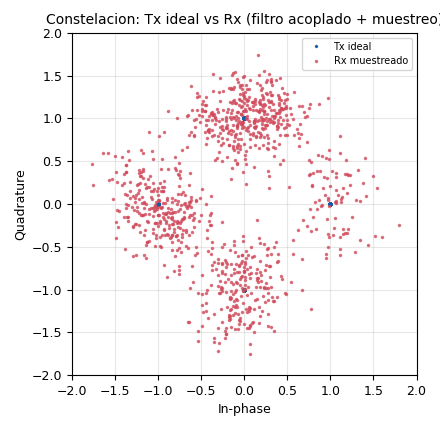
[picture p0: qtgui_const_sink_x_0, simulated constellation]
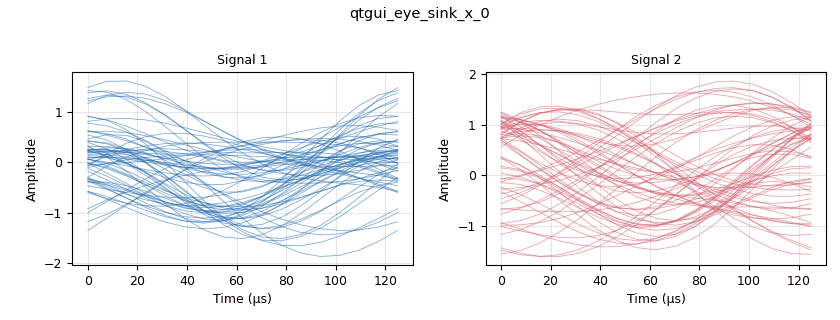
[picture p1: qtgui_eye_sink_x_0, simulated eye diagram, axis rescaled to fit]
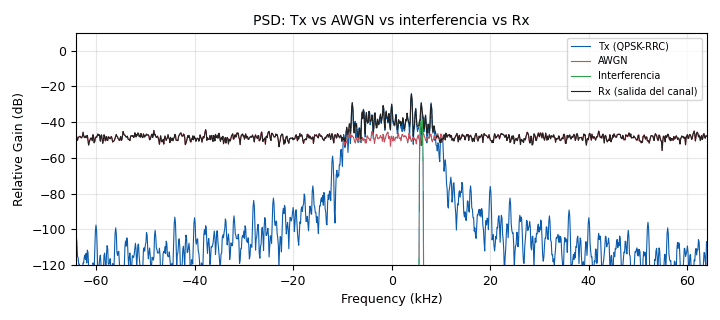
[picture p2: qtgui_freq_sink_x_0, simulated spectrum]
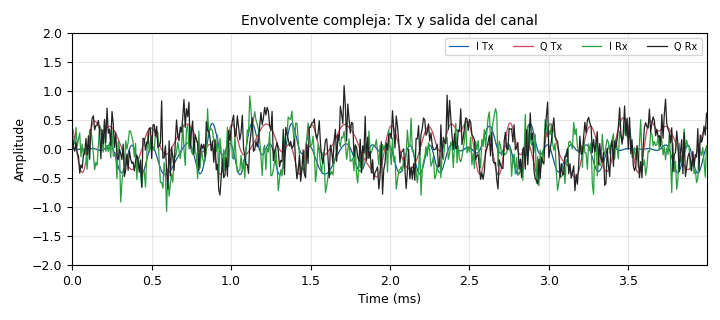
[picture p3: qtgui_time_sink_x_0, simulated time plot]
options:
  parameters:
    comment: Basado en Modulaciones_basadas_en_constelaciones_AWGN.grc (flujo base del curso)
    description: 'Abstraccion academica de un enlace optico coherente DCI: QPSK + RRC + AWGN + interferencia + receptor + BER'
    generate_options: qt_gui
    id: QPSK_DCI_Fase2_avance
    output_language: python
    title: QPSK con RRC, AWGN e interferencia senoidal - Fase 2 (avance)
  states: {}

blocks:
- name: EbN0_dB
  id: variable_qtgui_label
  parameters:
    gui_hint: 2,1,1,1
    label: Eb/N0 [dB]
    type: real
    value: EsN0_dB - 10*math.log10(bps)
  states: {}
- name: EsN0_dB
  id: variable_qtgui_range
  parameters:
    comment: Es/N0 en dB (en el instante de decision)
    gui_hint: 0,0,1,1
    label: Es/N0 [dB]
    start: '-5'
    step: '0.5'
    stop: '80'
    value: '10'
  states: {}
- name: M
  id: variable
  parameters:
    value: len(tabla_de_verdad_constelacion)
  states: {}
- name: N_ber
  id: variable
  parameters:
    comment: Ventana de bits para la BER en vivo
    value: '100000'
  states: {}
- name: Rb
  id: variable
  parameters:
    comment: Tasa de bits [bit/s]
    value: Rs*bps
  states: {}
- name: Rs
  id: variable
  parameters:
    comment: Tasa de simbolos [sym/s]
    value: '16000'
  states: {}
- name: SIR_dB
  id: variable_qtgui_label
  parameters:
    comment: SIR = P_senal/P_tono, con P_senal = 1/Sps
    gui_hint: 1,1,1,1
    label: SIR [dB]
    type: raw
    value: round(10*math.log10((1.0/Sps)/(interf_amp**2)), 2) if interf_amp > 0 else 'sin interferencia'
  states: {}
- name: Sps
  id: variable
  parameters:
    value: '8'
  states: {}
- name: beta
  id: variable
  parameters:
    comment: Factor de roll-off del RRC
    value: '0.35'
  states: {}
- name: bps
  id: variable
  parameters:
    value: int(math.log(M,2))
  states: {}
- name: constelacion_qpsk
  id: variable_constellation
  parameters:
    comment: Decisor de minima distancia sobre la tabla del curso
    const_points: tabla_de_verdad_constelacion
    dims: '1'
    normalization: digital.constellation.NO_NORMALIZATION
    precision: '8'
    rot_sym: '4'
    sym_map: '[0, 1, 2, 3]'
    type: calcdist
  states: {}
- name: interf_amp
  id: variable_qtgui_range
  parameters:
    comment: Amplitud del tono interferente (0 = sin interferencia)
    gui_hint: 0,1,1,1
    label: interf_amp
    start: '0'
    step: '0.01'
    stop: '0.5'
    value: '0.1'
  states: {}
- name: interf_freq
  id: variable_qtgui_range
  parameters:
    comment: Frecuencia del tono interferente en banda base
    gui_hint: 1,0,1,1
    label: interf_freq [Hz]
    start: '0'
    step: '100'
    stop: '40000'
    value: '6000'
  states: {}
- name: mt
  id: variable
  parameters:
    comment: mensaje
    value: (0,1,1,0,0,0,1,1,0,1,1,0,1,1,1,1,0,1,1,0,1,1,0,1,0,1,1,1,0,1,0,1,0,1,1,0,1,1,1,0,0,1,1,0,1,0,0,1,0,1,1,0,0,0,1,1,0,1,1,0,0,0,0,1,0,1,1,0,0,0,1,1,0,1,1,0,1,0,0,1,0,1,1,0,1,1,1,1,0,1,1,0,1,1,1,0,0,1,1,0,0,1,0,1,0,1,1,1,0,0,1,1)
  states: {}
- name: noise_amp
  id: variable_qtgui_label
  parameters:
    comment: 'sigma del AWGN complejo: Es/N0 = 1/noise_amp^2 (RRC de energia unitaria)'
    gui_hint: 2,0,1,1
    label: noise_amp (desv. AWGN)
    type: real
    value: math.sqrt(10**(-EsN0_dB/10.0))
  states: {}
- name: ntaps
  id: variable
  parameters:
    value: span*Sps+1
  states: {}
- name: rrc_raw
  id: variable
  parameters:
    comment: RRC de GNU Radio (normalizado a ganancia DC = 1)
    value: firdes.root_raised_cosine(1.0, samp_rate, Rs, beta, ntaps)
  states: {}
- name: rrc_taps
  id: variable
  parameters:
    comment: RRC normalizado a energia unitaria (Es = 1 con |a|=1)
    value: '[t/math.sqrt(sum([x*x for x in rrc_raw])) for t in rrc_raw]'
  states: {}
- name: rx_delay
  id: variable
  parameters:
    comment: Retardo [muestras] para muestrear en el pico del filtro acoplado
    value: Sps-1
  states: {}
- name: samp_rate
  id: variable
  parameters:
    comment: Tasa de muestreo [S/s]
    value: Rs*Sps
  states: {}
- name: span
  id: variable
  parameters:
    comment: Duracion del RRC en simbolos
    value: '8'
  states: {}
- name: sym_delay
  id: variable
  parameters:
    comment: Retardo Tx->Rx en simbolos (2 RRC de span/2 simbolos c/u)
    value: span
  states: {}
- name: tabla_de_verdad_constelacion
  id: variable
  parameters:
    comment: Cambie esta tabla para OOK ASK BPSK QPSK 8PSK o 16QAM
    value: (1+0j, 0+1j, -1+0j, 0-1j)
  states: {}
- name: analog_noise_source_x_0
  id: analog_noise_source_x
  parameters:
    amp: noise_amp
    comment: AWGN
    noise_type: analog.GR_GAUSSIAN
    seed: '0'
    type: complex
  states: {}
- name: analog_random_source_x_0
  id: analog_random_source_x
  parameters:
    max: '2'
    min: '0'
    num_samps: '65536'
    repeat: 'True'
    type: byte
  states: {state: disabled}
- name: analog_sig_source_x_0
  id: analog_sig_source_x
  parameters:
    amp: interf_amp
    comment: Interferencia senoidal de banda estrecha
    freq: interf_freq
    offset: '0'
    phase: '0'
    samp_rate: samp_rate
    type: complex
    waveform: analog.GR_COS_WAVE
  states: {}
- name: blocks_add_xx_0
  id: blocks_add_xx
  parameters:
    comment: 'Canal: senal + AWGN + interferencia'
    num_inputs: '3'
    type: complex
  states: {}
- name: blocks_char_to_float_0
  id: blocks_char_to_float
  parameters:
    scale: '1'
  states: {state: disabled}
- name: blocks_delay_0
  id: blocks_delay
  parameters:
    delay: rx_delay
    type: complex
  states: {}
- name: blocks_delay_1
  id: blocks_delay
  parameters:
    comment: Simbolos Tx retardados para alinear con Rx
    delay: sym_delay
    type: byte
  states: {state: disabled}
- name: blocks_keep_one_in_n_0
  id: blocks_keep_one_in_n
  parameters:
    comment: Muestreo en el instante optimo (1 muestra/simbolo)
    n: Sps
    type: complex
  states: {}
- name: blocks_moving_average_xx_0
  id: blocks_moving_average_xx
  parameters:
    comment: BER promedio sobre N_ber bits
    length: N_ber
    max_iter: '4000'
    scale: 1.0/N_ber
    type: float
  states: {state: disabled}
- name: blocks_pack_k_bits_bb_0
  id: blocks_pack_k_bits_bb
  parameters:
    k: '8'
  states: {}
- name: blocks_packed_to_unpacked_xx_0
  id: blocks_packed_to_unpacked_xx
  parameters:
    bits_per_chunk: bps
    endianness: gr.GR_MSB_FIRST
    type: byte
  states: {}
- name: blocks_unpack_k_bits_bb_0
  id: blocks_unpack_k_bits_bb
  parameters:
    comment: 1 = bit errado
    k: bps
  states: {state: disabled}
- name: blocks_vector_source_x_1
  id: blocks_vector_source_x
  parameters:
    repeat: 'True'
    type: byte
    vector: mt
  states: {}
- name: blocks_xor_xx_0
  id: blocks_xor_xx
  parameters:
    type: byte
  states: {state: disabled}
- name: digital_chunks_to_symbols_xx_0
  id: digital_chunks_to_symbols_xx
  parameters:
    dimension: '1'
    in_type: byte
    out_type: complex
    symbol_table: tabla_de_verdad_constelacion
  states: {}
- name: digital_constellation_decoder_cb_0
  id: digital_constellation_decoder_cb
  parameters:
    comment: Demodulador QPSK (decision de minima distancia)
    constellation: constelacion_qpsk
  states: {state: disabled}
- name: fir_filter_xxx_0
  id: fir_filter_xxx
  parameters:
    comment: Filtro acoplado RRC
    decim: '1'
    taps: rrc_taps
    type: ccf
  states: {}
- name: import_0
  id: import
  parameters:
    imports: import math
  states: {}
- name: interp_fir_filter_xxx_0
  id: interp_fir_filter_xxx
  parameters:
    comment: 'Filtro RRC de transmision (antes: pulso rectangular h=[1]*Sps)'
    interp: Sps
    taps: rrc_taps
    type: ccf
  states: {}
- name: qtgui_const_sink_x_0
  id: qtgui_const_sink_x
  parameters:
    color1: '"red"'
    color2: '"blue"'
    grid: 'True'
    gui_hint: 3,0,2,1
    label1: '"Tx ideal"'
    label2: '"Rx muestreado"'
    name: '"Constelacion: Tx ideal vs Rx (filtro acoplado + muestreo)"'
    nconnections: '2'
    size: '1024'
    type: complex
    width1: '3'
  states: {}
- name: qtgui_eye_sink_x_0
  id: qtgui_eye_sink_x
  parameters:
    samp_per_symbol: Sps
    size: '1024'
    srate: samp_rate
    type: complex
  states: {}
- name: qtgui_freq_sink_x_0
  id: qtgui_freq_sink_x
  parameters:
    average: '0.1'
    bw: samp_rate
    color2: '"dark green"'
    color3: '"red"'
    fc: '0'
    fftsize: '1024'
    grid: 'True'
    gui_hint: 3,1,2,2
    label1: Tx (QPSK-RRC)
    label2: AWGN
    label3: Interferencia
    label4: Rx (salida del canal)
    name: '"PSD: Tx vs AWGN vs interferencia vs Rx"'
    nconnections: '4'
    type: complex
    ymin: '-120'
  states: {}
- name: qtgui_number_sink_0
  id: qtgui_number_sink
  parameters:
    graph_type: qtgui.NUM_GRAPH_HORIZ
    gui_hint: 0,2,3,1
    label1: '"BER"'
    max: '0.5'
    min: '0'
    name: '"BER (ventana N_ber bits)"'
    type: float
    unit1: '""'
    update_time: '0.20'
  states: {state: disabled}
- name: qtgui_number_sink_1
  id: qtgui_number_sink
  parameters:
    graph_type: qtgui.NUM_GRAPH_HORIZ
    type: byte
  states: {state: disabled}
- name: qtgui_time_sink_x_0
  id: qtgui_time_sink_x
  parameters:
    grid: 'True'
    gui_hint: 5,0,2,3
    label1: I Tx
    label2: Q Tx
    label3: I Rx
    label4: Q Rx
    name: '"Envolvente compleja: Tx y salida del canal"'
    nconnections: '2'
    size: '512'
    srate: samp_rate
    type: complex
    ymax: '2'
    ymin: '-2'
  states: {}
- name: throttle_0
  id: blocks_throttle2
  parameters:
    samples_per_second: samp_rate
    type: complex
  states: {}

connections:
- [analog_noise_source_x_0, '0', blocks_add_xx_0, '1']
- [analog_noise_source_x_0, '0', qtgui_freq_sink_x_0, '1']
- [analog_random_source_x_0, '0', blocks_pack_k_bits_bb_0, '0']
- [analog_random_source_x_0, '0', qtgui_number_sink_1, '0']
- [analog_sig_source_x_0, '0', blocks_add_xx_0, '2']
- [analog_sig_source_x_0, '0', qtgui_freq_sink_x_0, '2']
- [blocks_add_xx_0, '0', fir_filter_xxx_0, '0']
- [blocks_add_xx_0, '0', qtgui_freq_sink_x_0, '3']
- [blocks_add_xx_0, '0', qtgui_time_sink_x_0, '1']
- [blocks_char_to_float_0, '0', blocks_moving_average_xx_0, '0']
- [blocks_delay_0, '0', blocks_keep_one_in_n_0, '0']
- [blocks_delay_1, '0', blocks_xor_xx_0, '1']
- [blocks_keep_one_in_n_0, '0', digital_constellation_decoder_cb_0, '0']
- [blocks_keep_one_in_n_0, '0', qtgui_const_sink_x_0, '1']
- [blocks_moving_average_xx_0, '0', qtgui_number_sink_0, '0']
- [blocks_pack_k_bits_bb_0, '0', blocks_packed_to_unpacked_xx_0, '0']
- [blocks_packed_to_unpacked_xx_0, '0', blocks_delay_1, '0']
- [blocks_packed_to_unpacked_xx_0, '0', digital_chunks_to_symbols_xx_0, '0']
- [blocks_unpack_k_bits_bb_0, '0', blocks_char_to_float_0, '0']
- [blocks_vector_source_x_1, '0', blocks_pack_k_bits_bb_0, '0']
- [blocks_xor_xx_0, '0', blocks_unpack_k_bits_bb_0, '0']
- [digital_chunks_to_symbols_xx_0, '0', interp_fir_filter_xxx_0, '0']
- [digital_chunks_to_symbols_xx_0, '0', qtgui_const_sink_x_0, '0']
- [digital_constellation_decoder_cb_0, '0', blocks_xor_xx_0, '0']
- [fir_filter_xxx_0, '0', blocks_delay_0, '0']
- [fir_filter_xxx_0, '0', qtgui_eye_sink_x_0, '0']
- [interp_fir_filter_xxx_0, '0', throttle_0, '0']
- [throttle_0, '0', blocks_add_xx_0, '0']
- [throttle_0, '0', qtgui_freq_sink_x_0, '0']
- [throttle_0, '0', qtgui_time_sink_x_0, '0']

metadata:
  file_format: 1
  grc_version: 3.10.12.0
